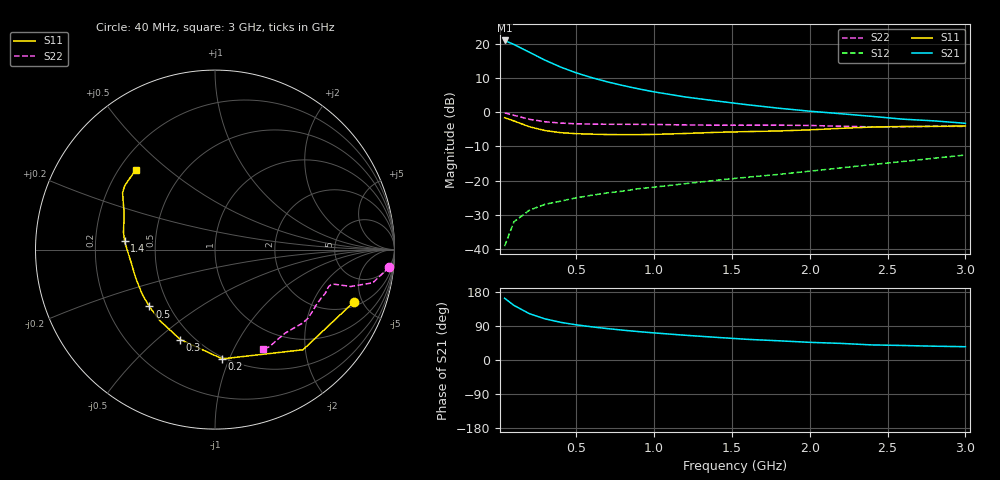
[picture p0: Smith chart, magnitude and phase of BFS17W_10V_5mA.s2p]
! Filename:  BFS17WG.S2P  Version:  4.0
! Philips part #: BFS17W  Date: Jun 1994
! Bias condition: Vce=10V, Ic=5mA
#  MHz  S  MA  R  50
! Freq  S11  S21  S12  S22  !GUM [dB]
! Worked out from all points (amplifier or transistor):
!   21 points, 40 MHz to 3 GHz, reference 50 ohm
!   highest |S21| = 20.9 dB at 40 MHz (marker M1)
!   |S21| within 3 dB of that: start of sweep to 179.8 MHz
!   unconditionally stable (mu >= 1): 597.3 MHz to end of sweep
!   at 300 MHz: K = 0.67, MSG = 21.0 dB, |S12| = -26.9 dB
!   at 1 GHz: K = 1.20, MAG = 11.2 dB, |S12| = -21.9 dB
!   at 3 GHz: K = 1.01, MAG = 3.9 dB, |S12| = -12.5 dB
!   S11 on the Smith chart (normalised r, x): 40 MHz: 2.33, -4.29; 200 MHz: 0.49, -0.94; 300 MHz: 0.42, -0.60; 500 MHz: 0.39, -0.32; 1.4 GHz: 0.33, +0.04; 3 GHz: 0.27, +0.39
40  0.827 -20.6  11.13 162.9  0.011 78.4  0.975 -5.8
100  0.743 -48.7  9.717 144.1  0.025 65.0  0.898 -11.9
200  0.61 -86.2  7.473 122.1  0.037 54.6  0.784 -15.2
300  0.537 -111.1  5.728 108.5  0.045 51.6  0.723 -15.8
400  0.501 -127.8  4.548 99.4  0.05 52.1  0.691 -16.2
500  0.484 -139.1  3.743 92.8  0.056 53.7  0.675 -16.9
600  0.476 -147.9  3.185 87.5  0.061 55.7  0.667 -17.9
700  0.47 -154.8  2.767 82.9  0.066 57.8  0.664 -18.8
800  0.469 -160.7  2.444 78.7  0.07 59.9  0.663 -19.8
900  0.469 -165.9  2.186 74.9  0.076 61.8  0.662 -20.8
1000  0.472 -170.7  1.975 71.5  0.08 63.5  0.66 -21.9
1200  0.487 -178.9  1.664 65.3  0.09 66.9  0.65 -24.7
1400  0.506 174.8  1.455 59.8  0.101 70.5  0.643 -28.5
1600  0.519 169.2  1.28 54.5  0.112 73.9  0.643 -32.8
1800  0.53 163.3  1.14 50.7  0.123 77.5  0.644 -36.3
2000  0.55 157.2  1.031 46.6  0.137 80.9  0.638 -39.8
2200  0.579 152.1  0.947 43.8  0.153 83.7  0.622 -44.1
2400  0.605 148.3  0.866 39.8  0.171 85.8  0.608 -49.8
2600  0.616 144.8  0.788 38.3  0.19 87.1  0.611 -55.8
2800  0.619 140.1  0.744 36.4  0.212 88.5  0.62 -60.5
3000  0.626 134.7  0.686 35.1  0.236 89.3  0.618 -64.2
